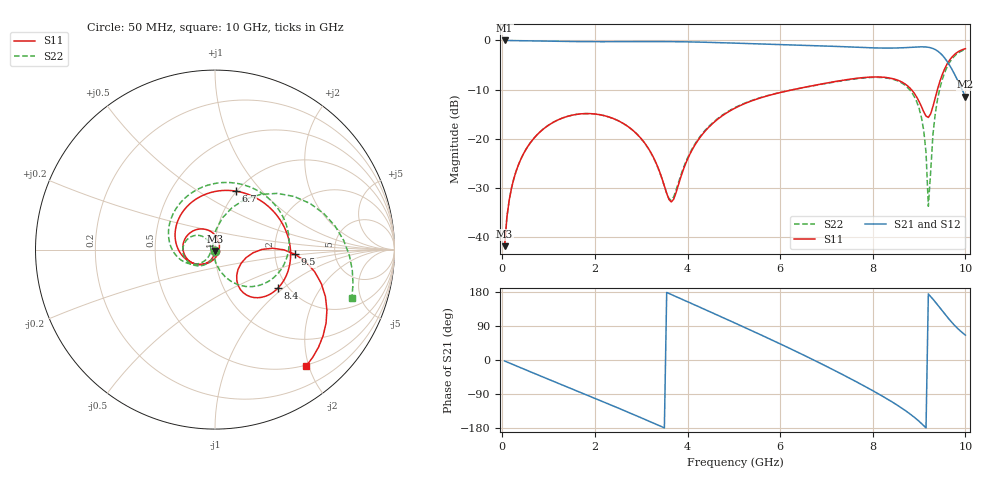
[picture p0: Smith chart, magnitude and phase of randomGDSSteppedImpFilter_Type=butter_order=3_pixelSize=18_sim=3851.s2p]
! freq	dB(S11)	phase(S11)	dB(S12)	phase(S12)
!  dB(S21)	phase(S21)	dB(S22)	phase(S22)
!S-par simulation data
#  GHz  S  DB  R 50
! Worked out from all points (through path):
!   200 points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, 50 MHz to 10 GHz, reference 50 ohm
!   highest |S21| = 0.00 dB at 50 MHz (marker M1); lowest = -11.5 dB at 10 GHz (marker M2)
!   group delay of S21, straight-line fit = 167 ps
!   lowest |S11| = -41.9 dB at 50 MHz (marker M3), VSWR 1.02, Z = 50 - j0.801 ohm
!   |S11| at or under -10 dB: start of sweep to 6.293 GHz; 8.831 GHz to 9.397 GHz (565.7 MHz wide, 6.21 % of centre)
!   |S22| runs from -41.9 to -1.8 dB; largest |S21 - S12| = 0
!   S11 on the Smith chart (normalised r, x): 50 MHz: 1.00, -0.02; 6.7 GHz: 0.99, +0.73; 8.4 GHz: 1.77, -0.92; 9.5 GHz: 2.61, -0.17; 10 GHz: 0.48, -1.95
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0.05  -41.92 -91.8  -0.00 -2.6  -0.00 -2.6  -41.93 -91.7
0.2  -30.05 -100.6  -0.02 -10.3  -0.02 -10.3  -30.04 -99.7
0.5  -22.39 -117.3  -0.06 -25.7  -0.06 -25.7  -22.38 -114.9
1.15  -16.43 -152.3  -0.17 -58.6  -0.17 -58.6  -16.43 -146.3
1.75  -14.93 175.4  -0.24 -88.7  -0.24 -88.7  -14.93 -174.4
2.75  -17.79 117.9  -0.24 -139.5  -0.24 -139.5  -17.81 141.8
3.4  -26.82 61.5  -0.23 -173.7  -0.23 -173.7  -26.91 131.1
3.65  -32.92 -13.8  -0.24 172.8  -0.24 172.8  -32.56 -178.9
4.25  -20.03 -125.8  -0.34 140.2  -0.34 140.2  -19.84 -135.5
5.05  -13.67 178.3  -0.56 96.1  -0.56 96.1  -13.57 -167.6
5.8  -11.10 129.0  -0.77 54.0  -0.77 54.0  -11.05 157.3
6.7  -9.22 70.4  -1.04 1.5  -1.04 1.5  -9.26 110.5
7.65  -7.72 12.1  -1.39 -57.8  -1.39 -57.8  -7.80 51.5
8.35  -7.63 -28.7  -1.56 -105.6  -1.56 -105.6  -7.74 0.0
8.4  -7.72 -31.5  -1.56 -109.3  -1.56 -109.3  -7.83 -4.0
9  -12.44 -57.2  -1.31 -161.8  -1.31 -161.8  -13.85 -62.4
9.15  -15.42 -40.9  -1.34 -179.3  -1.34 -179.3  -22.80 -87.2
9.2  -15.69 -28.0  -1.39 174.2  -1.39 174.2  -33.79 -121.5
9.3  -13.44 -4.8  -1.65 160.4  -1.65 160.4  -19.11 87.1
9.5  -6.97 -3.4  -3.00 129.9  -3.00 129.9  -7.98 50.4
9.75  -2.99 -28.4  -6.59 93.5  -6.59 93.5  -3.33 11.1
10  -1.68 -52.1  -11.49 65.5  -11.49 65.5  -1.84 -19.4
